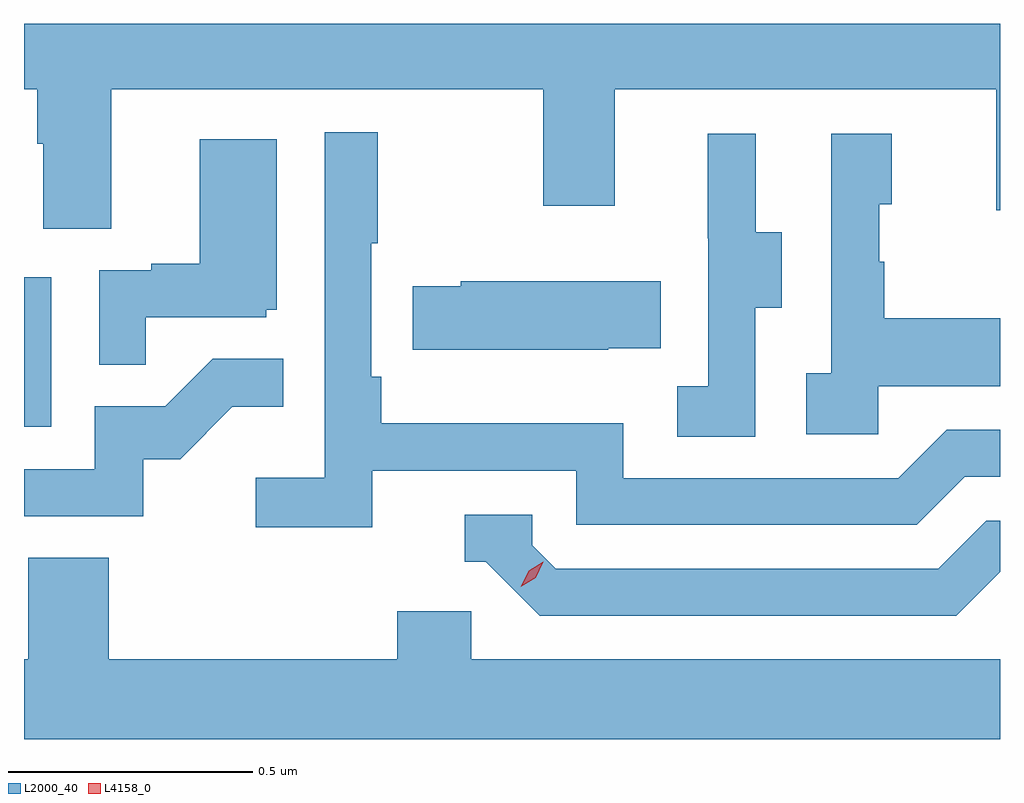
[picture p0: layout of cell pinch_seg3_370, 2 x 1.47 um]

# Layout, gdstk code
import gdstk
lib = gdstk.Library(unit=1e-6, precision=1e-09)
def R(c, l, rs):  # rectangles x0, y0, x1, y1
    for r in rs: c.add(gdstk.rectangle(r[:2], r[2:], *l))
def P(c, l, *ps):  # polygons
    for p in ps: c.add(gdstk.Polygon(p, *l))
L2000_40 = (2000, 40)
L4158_0 = (4158, 0)

pinch_seg3_370 = lib.new_cell('pinch_seg3_370')
R(pinch_seg3_370, L2000_40, [(964.628,706.884,964.684,707.191)])
P(pinch_seg3_370, L2000_40, [(964.628,707.576),(964.655,707.576),(964.655,707.464),(964.667,707.464),(964.667,707.29),(964.807,707.29),(964.807,707.576),(965.692,707.576),(965.692,707.337),(965.839,707.337),(965.839,707.576),(966.62,707.576),(966.62,707.328),(966.628,707.328),(966.628,707.71),(964.628,707.71)],
  [(965.342,706.794),(965.76,706.794),(965.76,706.683),(966.457,706.683),(966.556,706.782),(966.628,706.782),(966.628,706.878),(966.519,706.878),(966.42,706.779),(965.856,706.779),(965.856,706.891),(965.36,706.891),(965.36,706.987),(965.34,706.987),(965.34,707.26),(965.353,707.26),(965.353,707.488),(965.244,707.488),(965.244,706.78),(965.103,706.78),(965.103,706.678),(965.342,706.678)],
  [(966.378,706.967),(966.628,706.967),(966.628,707.107),(966.391,707.107),(966.391,707.222),(966.381,707.222),(966.381,707.34),(966.406,707.34),(966.406,707.485),(966.282,707.485),(966.282,706.994),(966.231,706.994),(966.231,706.869),(966.378,706.869)],
  [(966.126,707.128),(966.181,707.128),(966.181,707.283),(966.127,707.283),(966.127,707.485),(966.029,707.485),(966.029,707.271),(966.03,707.271),(966.03,706.967),(965.967,706.967),(965.967,706.864),(966.126,706.864)],
  [(964.877,707.109),(965.124,707.109),(965.124,707.124),(965.146,707.124),(965.146,707.473),(964.988,707.473),(964.988,707.218),(964.889,707.218),(964.889,707.205),(964.782,707.205),(964.782,707.011),(964.877,707.011)],
  [(965.825,707.045),(965.933,707.045),(965.933,707.182),(965.523,707.182),(965.523,707.172),(965.425,707.172),(965.425,707.042),(965.825,707.042)],
  [(964.872,706.818),(964.948,706.818),(965.055,706.925),(965.159,706.925),(965.159,707.024),(965.015,707.024),(964.917,706.926),(964.773,706.926),(964.773,706.797),(964.628,706.797),(964.628,706.701),(964.872,706.701)],
  [(966.628,706.587),(966.628,706.692),(966.6,706.692),(966.501,706.593),(965.718,706.593),(965.67,706.641),(965.67,706.704),(965.531,706.704),(965.531,706.608),(965.574,706.608),(965.685,706.497),(966.538,706.497)],
  [(966.628,706.408),(965.544,706.408),(965.544,706.506),(965.393,706.506),(965.393,706.408),(964.802,706.408),(964.802,706.616),(964.637,706.616),(964.637,706.408),(964.628,706.408),(964.628,706.244),(966.628,706.244)])
P(pinch_seg3_370, L4158_0, [(965.646,706.556),(965.646,706.556),(965.662,706.589),(965.692,706.608),(965.692,706.608),(965.692,706.608),(965.677,706.575),(965.646,706.556)])

lib.write_gds('pinch_seg3_370.gds')
